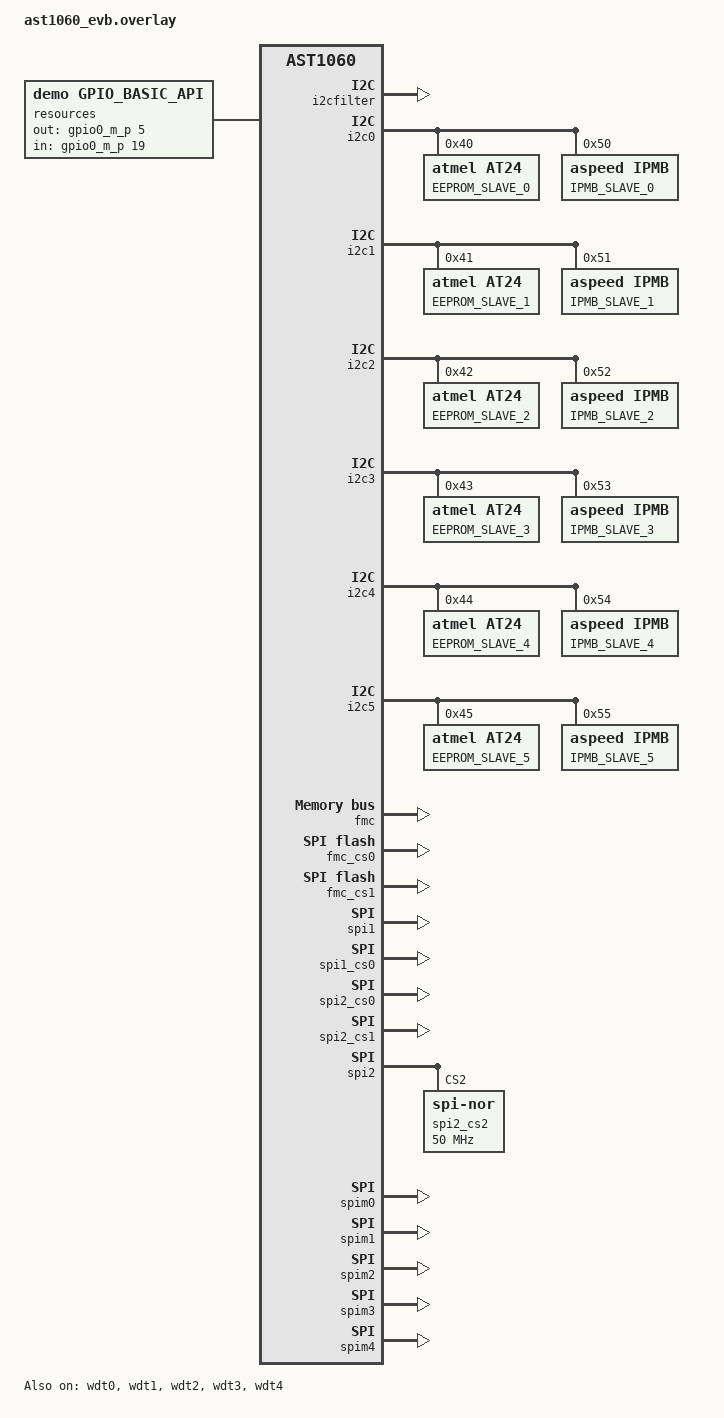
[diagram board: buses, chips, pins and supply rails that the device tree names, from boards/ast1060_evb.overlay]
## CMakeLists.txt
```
# SPDX-License-Identifier: Apache-2.0

cmake_minimum_required(VERSION 3.13.1)

find_package(Zephyr HINTS $ENV{ZEPHYR_BASE})
project(ast1060_evb_full_sample)

FILE(GLOB app_sources src/*.c)
target_sources(app PRIVATE ${app_sources})
```

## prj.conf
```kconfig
CONFIG_GPIO=y
CONFIG_SPI=y
CONFIG_I2C=y
CONFIG_THREAD_RUNTIME_STATS=y
CONFIG_GPIO_SHELL=y
CONFIG_I2C_SLAVE=y
CONFIG_I2C_EEPROM_SLAVE=y
CONFIG_FLASH=y
CONFIG_SPI_NOR_MULTI_DEV=y
CONFIG_FLASH_SHELL=y
CONFIG_HEAP_MEM_POOL_SIZE=16384
CONFIG_MINIMAL_LIBC_MALLOC_ARENA_SIZE=147456
CONFIG_REBOOT=y
CONFIG_POSIX_CLOCK=y
CONFIG_STACK_SENTINEL=y
CONFIG_LOG=y
CONFIG_LOG_BACKEND_UART=y
CONFIG_SHELL=y
CONFIG_SHELL_BACKEND_SERIAL_INIT_PRIORITY=99
CONFIG_PFR_FLOW_CTRL_AST1060=y
CONFIG_CRYPTO=y
CONFIG_CRYPTO_ASPEED=y
CONFIG_RSA_ASPEED=y
```

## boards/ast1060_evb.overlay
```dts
/ {
	resources {
		compatible = "demo,gpio_basic_api";
		out-gpios = <&gpio0_m_p 5 0>;
		in-gpios = <&gpio0_m_p 19 0>;
	};
};

&i2cfilter {
	pinctrl-0 = <&pinctrl_smbflt_default>;
	status = "okay";
};

&i2c0 {
	status = "okay";
	pinctrl-0 = <&pinctrl_i2c0_default>;

	eeprom0: eeprom0@40 {
		compatible = "atmel,at24";
		reg = <0x40>;
		label = "EEPROM_SLAVE_0";
		size = <256>;
		pagesize = <16>;
		address-width = <8>;
		timeout = <5>;
#ifdef CONFIG_I2C_EEPROM_SLAVE
		status = "okay";
#endif
	};

	ipmb0: ipmb0@50 {
		compatible = "aspeed,ipmb";
		reg = <0x50>;
		label = "IPMB_SLAVE_0";
		size = <5>;
#ifdef CONFIG_I2C_IPMB_SLAVE
		status = "okay";
#endif
	};

};

&i2c1 {
	pinctrl-0 = <&pinctrl_i2c1_default>;
	status = "okay";

	eeprom1: eeprom1@41 {
		compatible = "atmel,at24";
		reg = <0x41>;
		label = "EEPROM_SLAVE_1";
		size = <256>;
		pagesize = <16>;
		address-width = <8>;
		timeout = <5>;
#ifdef CONFIG_I2C_EEPROM_SLAVE
		status = "okay";
#endif
	};

	ipmb1: ipmb1@51 {
		compatible = "aspeed,ipmb";
		reg = <0x51>;
		label = "IPMB_SLAVE_1";
		size = <5>;
#ifdef CONFIG_I2C_IPMB_SLAVE
		status = "okay";
#endif
	};

};

&i2c2 {
	pinctrl-0 = <&pinctrl_i2c2_default>;
	status = "okay";

	eeprom2: eeprom2@42 {
		compatible = "atmel,at24";
		reg = <0x42>;
		label = "EEPROM_SLAVE_2";
		size = <256>;
		pagesize = <16>;
		address-width = <8>;
		timeout = <5>;
#ifdef CONFIG_I2C_EEPROM_SLAVE
		status = "okay";
#endif
	};

	ipmb2: ipmb2@52 {
		compatible = "aspeed,ipmb";
		reg = <0x52>;
		label = "IPMB_SLAVE_2";
		size = <5>;
#ifdef CONFIG_I2C_IPMB_SLAVE
		status = "okay";
#endif
	};

};

&i2c3 {
	pinctrl-0 = <&pinctrl_i2c3_default>;
	status = "okay";

	eeprom3: eeprom3@43 {
		compatible = "atmel,at24";
		reg = <0x43>;
		label = "EEPROM_SLAVE_3";
		size = <256>;
		pagesize = <16>;
		address-width = <8>;
		timeout = <5>;
#ifdef CONFIG_I2C_EEPROM_SLAVE
		status = "okay";
#endif
	};

	ipmb3: ipmb3@53 {
		compatible = "aspeed,ipmb";
		reg = <0x53>;
		label = "IPMB_SLAVE_3";
		size = <5>;
#ifdef CONFIG_I2C_IPMB_SLAVE
		status = "okay";
#endif
	};

};

&i2c4 {
	pinctrl-0 = <&pinctrl_i2c4_default>;
	status = "okay";

	eeprom4: eeprom4@44 {
		compatible = "atmel,at24";
		reg = <0x44>;
		label = "EEPROM_SLAVE_4";
		size = <256>;
		pagesize = <16>;
		address-width = <8>;
		timeout = <5>;
#ifdef CONFIG_I2C_EEPROM_SLAVE
		status = "okay";
#endif
	};

	ipmb4: ipmb4@54 {
		compatible = "aspeed,ipmb";
		reg = <0x54>;
		label = "IPMB_SLAVE_4";
		size = <5>;
#ifdef CONFIG_I2C_IPMB_SLAVE
		status = "okay";
#endif
	};

};

&i2c5 {
	pinctrl-0 = <&pinctrl_i2c5_default>;
	status = "okay";

	eeprom5: eeprom5@45 {
		compatible = "atmel,at24";
		reg = <0x45>;
		label = "EEPROM_SLAVE_5";
		size = <256>;
		pagesize = <16>;
		address-width = <8>;
		timeout = <5>;
#ifdef CONFIG_I2C_EEPROM_SLAVE
		status = "okay";
#endif
	};

	ipmb5: ipmb5@55 {
		compatible = "aspeed,ipmb";
		reg = <0x55>;
		label = "IPMB_SLAVE_5";
		size = <5>;
#ifdef CONFIG_I2C_IPMB_SLAVE
		status = "okay";
#endif
	};

};

&wdt0 {
	status = "okay";
};

&wdt1 {
	status = "okay";
};

&wdt2 {
	status = "okay";
};

&wdt3 {
	status = "okay";
};

&wdt4 {
	status = "okay";
};

&fmc {
	status = "okay";
};

&fmc_cs0 {
	status = "okay";
	spi-max-buswidth = <4>;
	spi-max-frequency = <50000000>;
};

&fmc_cs1 {
	status = "okay";
	spi-max-buswidth = <4>;
	spi-max-frequency = <50000000>;
};

&spi1 {
	num-cs = <1>;
	status = "okay";
};

&spi1_cs0 {
	spi-max-buswidth = <4>;
	spi-max-frequency = <50000000>;
	status = "okay";
};

/* Use AST1060 SPI2 as the internal SPI master to
 * to access the SPI flashes connected to SPI monitors
 * Here,
 * "SPI2_CS0" used to access flash connected to SPI_Monitor_2,
 * "SPI2_CS1" is used to access flash connected to SPI_Monitor_3,
 * "SPI2_CS2" is used to access flash connected to SPI_Monitor_4,
 */

&spi2_cs0 {
	spi-max-buswidth = <4>;
	spi-max-frequency = <50000000>;
	reg = <0>;
	status = "okay";
};

&spi2_cs1 {
	spi-max-buswidth = <4>;
	spi-max-frequency = <50000000>;
	reg = <1>;
	status = "okay";
};

&spi2 {
	internal-mux-master = <2>;
	spi-monitor-output-base = <2>;
	spi-monitor-common-ctrl = <&spim0>;
	pinctrl-0 = <>;

	num-cs = <3>;
	status = "okay";

	spi2_cs2: flash@2 {
		compatible = "jedec,spi-nor";
		reg = <2>;
		spi-max-buswidth = <4>;
		spi-max-frequency = <50000000>;
		label = "spi2_cs2";
		status = "okay";
	};
};

&spim0 {
	status = "okay";
};

&spim1 {
	allow-cmds = [03 13 0b 0c 6b 6c 01 05 35 06 04 20 21 9f 5a b7 e9 32 34 d8 dc 02 12];
	log-ram-size = <0x200>;
	pinctrl-0 = <&pinctrl_spim1_cs &pinctrl_spim1_in_default &pinctrl_spim1_qspi_in_default
				&pinctrl_spim1_rst_out &pinctrl_spim1_muxsel>;

	flash-device = <&spi1_cs0>;
	status = "okay";
};

&spim2 {
	allow-cmds = [03 13 0b 0c 6b 6c 01 05 35 06 04 20 21 9f 5a b7 e9 32 34 d8 dc 02 12];
	log-ram-size = <0x200>;
	pinctrl-0 = <&pinctrl_spim2_cs &pinctrl_spim2_in_default &pinctrl_spim2_out_default
				&pinctrl_spim2_qspi_in_default &pinctrl_spim2_qspi_out_default
				&pinctrl_spim2_rst_out>;

	flash-device = <&spi2_cs0>;
	status = "okay";
};

&spim3 {
	allow-cmds = [03 13 0b 0c 6b 6c 01 05 35 06 04 20 21 9f 5a b7 e9 32 34 d8 dc 02 12];
	log-ram-size = <0x200>;
	pinctrl-0 = <&pinctrl_spim3_cs &pinctrl_spim3_in_default &pinctrl_spim3_out_default
				&pinctrl_spim3_qspi_in_default &pinctrl_spim3_qspi_out_default
				&pinctrl_spim3_rst_out>;

	flash-device = <&spi2_cs1>;
	status = "okay";
};

&spim4 {
	allow-cmds = [03 13 0b 0c 6b 6c 01 05 35 06 04 20 21 9f 5a b7 e9 32 34 d8 dc 02 12];
	log-ram-size = <0x200>;
	/* for demo purpose */
	read-forbidden-regions = <
		0x00000000 0x10000
		0x00274000 0x4000
		0x01E00000 0x80000
	>;

	write-forbidden-regions = <
		0x00000000 0x10000
		0x013FC000 0x28000
		0x0FFF8000 0x8000
	>;

	pinctrl-0 = <&pinctrl_spim4_cs &pinctrl_spim4_in_default &pinctrl_spim4_out_default
				&pinctrl_spim4_qspi_in_default &pinctrl_spim4_qspi_out_default
				&pinctrl_spim4_rst_out>;

	flash-device = <&spi2_cs2>;
	status = "okay";
};
```

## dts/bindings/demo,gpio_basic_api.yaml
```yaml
#
# Copyright (c) 2019 Nordic Semiconductor ASA
# Copyright (c) 2021 ASPEED Technology Inc.
#
# SPDX-License-Identifier: Apache-2.0
#

description: |
    This binding provides resources required to build and run the
    samples/ast1060_evb/demo in Zephyr.

compatible: "demo,gpio_basic_api"

properties:
    out-gpios:
        type: phandle-array
        required: false
        description: |
          Identity of a GPIO that will be configured as an output.  This
          must be on the same device as in-gpios, and physically
          connected to in-gpios.

    in-gpios:
        type: phandle-array
        required: false
        description: |
          Identity of a GPIO that will be configured as an input.  This
          must be on the same device as out-gpios,and physically
          connected to out-gpios.
```

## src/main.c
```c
/*
 * Copyright (c) 2021 ASPEED Technology Inc.
 *
 * SPDX-License-Identifier: Apache-2.0
 */

#include <zephyr.h>
#include <sys/printk.h>
#include <drivers/misc/aspeed/pfr_aspeed.h>
#include <soc.h>

extern struct k_work rst_work;

void demo_spim_irq_init(void);
void demo_wdt(void);
void ast1060_rst_demo_ext_mux(struct k_work *item);
void rst_gpio_event_register(void);
void ast1060_i2c_demo_flt(void);

void main(void)
{
	printk("%s demo\n", CONFIG_BOARD);
	aspeed_print_sysrst_info();

	/* reset BMC first */
	pfr_bmc_rst_enable_ctrl(true);

	rst_gpio_event_register();

	k_work_init(&rst_work, ast1060_rst_demo_ext_mux);
	demo_spim_irq_init();

	ast1060_rst_demo_ext_mux(NULL);

#if CONFIG_I2C_PFR_FILTER
	ast1060_i2c_demo_flt();
#endif
	/* the following demo part should be allocated
	 * at the final step of main function.
	 */
#if CONFIG_WDT_DEMO_ASPEED
	demo_wdt();
#endif
}
```

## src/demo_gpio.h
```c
/*
 * Copyright (c) 2021 ASPEED Technology Inc.
 *
 * SPDX-License-Identifier: Apache-2.0
 */

#ifndef __DEMO_GPIO_H__
#define __DEMO_GPIO_H__

#include <zephyr.h>
#include <drivers/gpio.h>
#include <sys/util.h>

#if DT_NODE_HAS_STATUS(DT_INST(0, demo_gpio_basic_api), okay)
#define GPIOO3_DEV_NAME DT_GPIO_LABEL_BY_IDX(DT_INST(0, demo_gpio_basic_api), in_gpios, 0)
#define GPIOO3_PIN_IN DT_GPIO_PIN_BY_IDX(DT_INST(0, demo_gpio_basic_api), in_gpios, 0)
#else
#error Unsupported board
#endif

#endif /* __DEMO_GPIO_H__ */
```

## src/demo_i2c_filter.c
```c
/*
 * Copyright (c) 2021 ASPEED Technology Inc.
 *
 * SPDX-License-Identifier: Apache-2.0
 */

#include <zephyr.h>
#include <sys/printk.h>
#include <drivers/i2c.h>
#include <drivers/i2c/pfr/i2c_filter.h>

#if CONFIG_I2C_PFR_FILTER
static struct ast_i2c_f_bitmap data_flt[] = {
{
{	/* block all (index 0) */
	0x00000000, 0x00000000, 0x00000000, 0x00000000,
	0x00000000, 0x00000000, 0x00000000, 0x00000000
}
},
{
{	/* accept all (index 1) */
	0xFFFFFFFF, 0xFFFFFFFF, 0xFFFFFFFF, 0xFFFFFFFF,
	0xFFFFFFFF, 0xFFFFFFFF, 0xFFFFFFFF, 0xFFFFFFFF
}
},
{
{	/* block every 16 byte (index 2) */
	0xFFFF0000, 0xFFFF0000, 0xFFFF0000, 0xFFFF0000,
	0xFFFF0000, 0xFFFF0000, 0xFFFF0000, 0xFFFF0000
}
},
{
{	/* block first 16 byte (index 3) */
	0xFFFF0000, 0xFFFFFFFF, 0xFFFFFFFF, 0xFFFFFFFF,
	0xFFFFFFFF, 0xFFFFFFFF, 0xFFFFFFFF, 0xFFFFFFFF
}
},
{
{	/* block first 128 byte (index 4) */
	0x00000000, 0x00000000, 0x00000000, 0x00000000,
	0xFFFFFFFF, 0xFFFFFFFF, 0xFFFFFFFF, 0xFFFFFFFF
}
},
{
{	/* block last 128 byte (index 5) */
	0xFFFFFFFF, 0xFFFFFFFF, 0xFFFFFFFF, 0xFFFFFFFF,
	0x00000000, 0x00000000, 0x00000000, 0x00000000,
}
}
};
#endif

void ast1060_i2c_demo_flt(void)
{
#if CONFIG_I2C_PFR_FILTER
	uint8_t EEPROM_COUNT = 8;
	uint8_t EEPROM_PASS_TBL[] = {0, 0, 0, 1, 1, 4, 4, 5};
	const struct device *pfr_flt_dev = NULL;
	int ret = 0, i = 0;

	/* initial flt */
	pfr_flt_dev = device_get_binding("I2C_FILTER_0");
	if (!pfr_flt_dev) {
		printk("I2C PFR : FLT Device driver not found.");
		return;
	}

	if (pfr_flt_dev != NULL) {
		ret = ast_i2c_filter_init(pfr_flt_dev);
		if (ret) {
			printk("I2C PFR : FLT Device Initial failed.");
			return;
		}

		ret = ast_i2c_filter_en(pfr_flt_dev, 1, 1, 0, 0);
		if (ret) {
			printk("I2C PFR : FLT Device Enable / Disable failed.");
			return;
		}

		ret = ast_i2c_filter_default(pfr_flt_dev, 0);
		if (ret) {
			printk("I2C PFR : FLT Device Set Default failed.");
			return;
		}

		for (i = 0x0; i < EEPROM_COUNT; i++) {
			ret = ast_i2c_filter_update(pfr_flt_dev, (uint8_t)(i),
			(uint8_t) (0x50 + i), &data_flt[EEPROM_PASS_TBL[i]]);
			if (ret) {
				printk("I2C PFR : FLT Device Update failed.");
				return;
			}
		}
	}
#endif
}
```

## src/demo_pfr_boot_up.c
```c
/*
 * Copyright (c) 2021 ASPEED Technology Inc.
 *
 * SPDX-License-Identifier: Apache-2.0
 */

#include <zephyr.h>
#include <sys/printk.h>
#include <drivers/misc/aspeed/pfr_aspeed.h>

int demo_spi_host_read(void);

void ast1060_rst_demo_ext_mux(struct k_work *item)
{
	int ret;
	const struct device *spim_dev1 = NULL;
	const struct device *spim_dev = NULL;
	uint32_t i;
	static char *spim_devs[3] = {
		"spi_m2",
		"spi_m3",
		"spi_m4"
	};

	spim_dev1 = device_get_binding("spi_m1");
	if (!spim_dev1) {
		printk("demo_err: cannot get device, spi_m1.\n");
		return;
	}

	spim_rst_flash(spim_dev1, 1000);

	/* config SPI1 CS0 as master */
	spim_passthrough_config(spim_dev1, 0, false);
	spim_ext_mux_config(spim_dev1, SPIM_MASTER_MODE);

	/* disable passthrough mode for other SPI monitors */
	for (i = 0; i < 3; i++) {
		spim_dev = device_get_binding(spim_devs[i]);
		if (!spim_dev) {
			printk("demo_err: cannot get device, %s.\n", spim_devs[i]);
			return;
		}

		spim_passthrough_config(spim_dev, 0, false);
	}

	/* emulate PFR reads each flash content for verification purpose */
	ret = demo_spi_host_read();
	if (ret)
		return;

	/* config spim1 as SPI monitor */
	spim_ext_mux_config(spim_dev1, SPIM_MONITOR_MODE);

	/* set up passthrough mode for other SPI monitors */
	for (i = 0; i < 3; i++) {
		spim_dev = device_get_binding(spim_devs[i]);
		if (!spim_dev) {
			printk("demo_err: cannot get device, %s.\n", spim_devs[i]);
			return;
		}

		spim_passthrough_config(spim_dev, SPIM_SINGLE_PASSTHROUGH, true);
	}

	pfr_bmc_rst_enable_ctrl(false);
	ARG_UNUSED(item);
}
```

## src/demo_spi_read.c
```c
/*
 * Copyright (c) 2021 Aspeed Technology Inc.
 *
 * SPDX-License-Identifier: Apache-2.0
 */

#include <drivers/flash.h>
#include <drivers/spi_nor.h>
#include <kernel.h>
#include <sys/util.h>
#include <soc.h>
#include <stdlib.h>
#include <string.h>
#include <zephyr.h>

#define LOG_MODULE_NAME spi_read_demo

#include <logging/log.h>
LOG_MODULE_REGISTER(LOG_MODULE_NAME);

#define SPI_FLASH_TEST_SECTOR_SIZE 0x1000
#define SPI_FLASH_TEST_SIZE SPI_FLASH_TEST_SECTOR_SIZE
#define SPI_FLASH_TEST_ARR_SIZE 0x1100

static uint8_t test_arr[SPI_FLASH_TEST_ARR_SIZE] NON_CACHED_BSS_ALIGN16;
static uint8_t read_back_arr[SPI_FLASH_TEST_SIZE] NON_CACHED_BSS_ALIGN16;
static uint8_t op_arr[SPI_FLASH_TEST_SIZE] NON_CACHED_BSS_ALIGN16;

static char *flash_devices[6] = {
	"spi1_cs0",
	"spi2_cs0",
	"spi2_cs1",
	"spi2_cs2"
};

static void spi_flash_dump_buf(uint8_t *buf, uint32_t len)
{
	uint32_t i;

	for (i = 0; i < len; i++) {
		printk("%02x ", buf[i]);
		if (i % 16 == 15)
			printk("\n");
	}
	printk("\n");
}

static int do_erase_write_verify(const struct device *flash_device,
			uint32_t op_addr, uint8_t *write_buf, uint8_t *read_back_buf,
			uint32_t erase_sz)
{
	uint32_t ret = 0;

	ret = flash_erase(flash_device, op_addr, erase_sz);
	if (ret != 0) {
		LOG_ERR("[%s][%d] erase failed at %d.",
			__func__, __LINE__, op_addr);
		goto end;
	}

	ret = flash_write(flash_device, op_addr, write_buf, erase_sz);
	if (ret != 0) {
		LOG_ERR("[%s][%d] write failed at %d.",
			__func__, __LINE__, op_addr);
		goto end;
	}

	flash_read(flash_device, op_addr, read_back_buf, erase_sz);
	if (ret != 0) {
		LOG_ERR("[%s][%d] write failed at %d.",
			__func__, __LINE__, op_addr);
		goto end;
	}

	if (memcmp(write_buf, read_back_buf, erase_sz) != 0) {
		ret = -EINVAL;
		LOG_ERR("ERROR: %s %d fail to write flash at 0x%x",
				__func__, __LINE__, op_addr);
		printk("to be written:\n");
		spi_flash_dump_buf(write_buf, 256);

		printk("readback:\n");
		spi_flash_dump_buf(read_back_buf, 256);

		goto end;
	}

end:
	return ret;
}

static int do_update(const struct device *flash_device,
				off_t offset, uint8_t *buf, size_t len)
{
	int ret = 0;
	uint32_t flash_sz = flash_get_flash_size(flash_device);
	uint32_t sector_sz = flash_get_write_block_size(flash_device);
	uint32_t flash_offset = (uint32_t)offset;
	uint32_t remain, op_addr = 0, end_sector_addr;
	uint8_t *update_ptr = buf, *op_buf = NULL, *read_back_buf = NULL;
	bool update_it = false;

	LOG_INF("Udpating %s...", flash_device->name);

	if (flash_sz < flash_offset + len) {
		LOG_ERR("ERROR: update boundary exceeds flash size. (%d, %d, %d)",
			flash_sz, flash_offset, len);
		ret = -EINVAL;
		goto end;
	}

	op_buf = (uint8_t *)op_arr;
	read_back_buf = (uint8_t *)read_back_arr;

	/* initial op_addr */
	op_addr = (flash_offset / sector_sz) * sector_sz;

	/* handle the start part which is not multiple of sector size */
	if (flash_offset % sector_sz != 0) {
		ret = flash_read(flash_device, op_addr, op_buf, sector_sz);
		if (ret != 0)
			goto end;

		remain = MIN(sector_sz - (flash_offset % sector_sz), len);
		memcpy((uint8_t *)op_buf + (flash_offset % sector_sz), update_ptr, remain);
		ret = do_erase_write_verify(flash_device, op_addr, op_buf,
								read_back_buf, sector_sz);
		if (ret != 0)
			goto end;

		op_addr += sector_sz;
		update_ptr += remain;
	}

	end_sector_addr = (flash_offset + len) / sector_sz * sector_sz;
	/* handle body */
	for (; op_addr < end_sector_addr;) {
		ret = flash_read(flash_device, op_addr, op_buf, sector_sz);
		if (ret != 0)
			goto end;

		if (memcmp(op_buf, update_ptr, sector_sz) != 0)
			update_it = true;

		if (update_it) {
			ret = do_erase_write_verify(flash_device, op_addr, update_ptr,
								read_back_buf, sector_sz);
			if (ret != 0)
				goto end;
		}

		op_addr += sector_sz;
		update_ptr += sector_sz;
	}

	/* handle remain part */
	if (end_sector_addr < flash_offset + len) {

		ret = flash_read(flash_device, op_addr, op_buf, sector_sz);
		if (ret != 0)
			goto end;

		remain = flash_offset + len - end_sector_addr;
		memcpy((uint8_t *)op_buf, update_ptr, remain);

		ret = do_erase_write_verify(flash_device, op_addr, op_buf,
								read_back_buf, sector_sz);
		if (ret != 0)
			goto end;

		op_addr += remain;
	}

end:
	LOG_INF("Update %s.", ret ? "FAILED" : "done");
	return ret;
}

int demo_spi_host_read(void)
{
	int ret = 0;
	const struct device *flash_dev;
	uint8_t *op_buf = NULL;
	uint32_t i;

	op_buf = (uint8_t *)op_arr;

	for (i = 0; i < SPI_FLASH_TEST_ARR_SIZE; i++)
		test_arr[i] = 'a' + (i % 26);

	/* Don't modify flash of spi1_cs0
	 * since it is FMC_CS0 flash of the host.
	 */
	for (i = 1; i < 4; i++) {
		flash_dev = device_get_binding(flash_devices[i]);
		if (!flash_dev) {
			LOG_ERR("No device named %s.", flash_devices[i]);
			return -ENOEXEC;
		}

		ret = flash_read(flash_dev, 0x0, op_buf, SPI_FLASH_TEST_SIZE);
		if (ret) {
			LOG_ERR("fail to read flash %s", flash_devices[i]);
			goto end;
		}

		if (memcmp(op_buf, test_arr + (i * 4), SPI_FLASH_TEST_SIZE) != 0) {
			ret = do_update(flash_dev, 0x0,
					test_arr + (i * 4), SPI_FLASH_TEST_SIZE);
			if (ret != 0) {
				LOG_ERR("fail to update flash %s", flash_devices[i]);
				goto end;
			}
		}
	}

	for (i = 0; i < 4; i++) {
		flash_dev = device_get_binding(flash_devices[i]);
		if (!flash_dev) {
			LOG_ERR("No device named %s.", flash_devices[i]);
			return -ENOEXEC;
		}

		ret = flash_read(flash_dev, 0x0, op_buf, SPI_FLASH_TEST_SIZE);
		if (ret) {
			LOG_ERR("fail to read flash %s", flash_devices[i]);
			goto end;
		}

		printk("[%s]read result:\n", flash_devices[i]);
		spi_flash_dump_buf(op_buf, 4);
		spi_flash_dump_buf(op_buf + SPI_FLASH_TEST_SIZE - 4, 4);

		ret = spi_nor_config_4byte_mode(flash_dev, false);
		if (ret)
			goto end;
	}

	k_busy_wait(20000); /* 20ms */

end:

	return ret;
}
```
